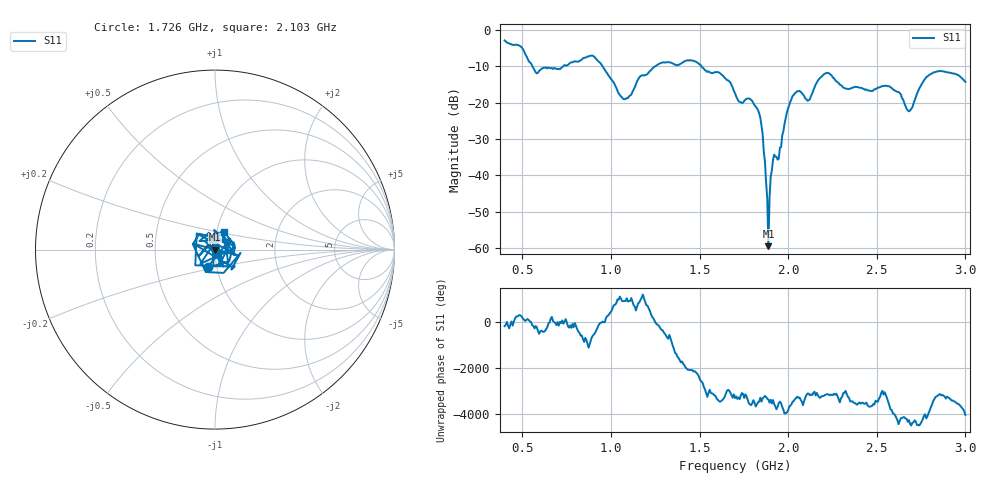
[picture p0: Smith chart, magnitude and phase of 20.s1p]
!Created with skrf (http://scikit-rf.org).
# Hz S RI R 50.0
!freq ReS11 ImS11
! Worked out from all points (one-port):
!   401 points, 400 MHz to 3 GHz, reference 50 ohm
!   lowest |S11| = -59.5 dB at 1.889 GHz (marker M1), VSWR 1.00, Z = 49.9 - j0.0746 ohm
!   |S11| at or under -10 dB: 556.9 MHz to 731.4 MHz (174.5 MHz wide, 27.1 % of centre); 953.1 MHz to 1.25 GHz (296.8 MHz wide, 26.9 % of centre); 1.51 GHz to end of sweep
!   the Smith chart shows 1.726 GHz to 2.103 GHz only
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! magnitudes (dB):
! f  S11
! 400 MHz  -2.9
! 491 MHz  -4.5
! 582 MHz  -11.9
! 725 MHz  -10.2
! 900.5 MHz  -7.2
! 1.05 GHz  -17.9
! 1.102 GHz  -18.3
! 1.161 GHz  -13.0
! 1.271 GHz  -9.3
! 1.375 GHz  -9.6
! 1.46 GHz  -8.4
! 1.609 GHz  -11.7
! 1.7 GHz  -17.4
! 1.83 GHz  -22.1
! 1.856 GHz  -28.7
! 1.875 GHz  -42.0
! 1.889 GHz  -59.5
! 1.901 GHz  -40.4
! 1.915 GHz  -35.7
! 1.947 GHz  -35.4
! 2.025 GHz  -18.1
! 2.116 GHz  -19.4
! 2.22 GHz  -11.8
! 2.35 GHz  -16.1
! 2.564 GHz  -15.4
! 2.675 GHz  -22.1
! 2.812 GHz  -12.0
! 3 GHz  -14.3
